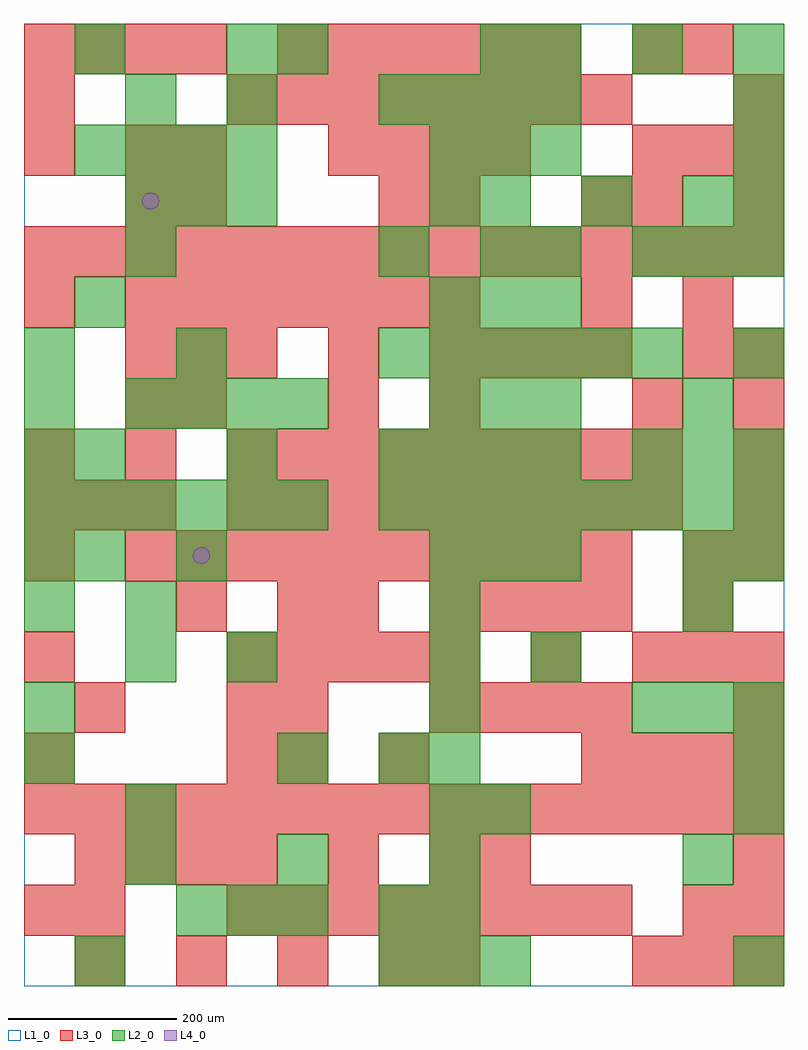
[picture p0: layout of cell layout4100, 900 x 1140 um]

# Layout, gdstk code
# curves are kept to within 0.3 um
import gdstk
lib = gdstk.Library(unit=1e-6, precision=1e-09)
def R(c, l, rs):  # rectangles x0, y0, x1, y1
    for r in rs: c.add(gdstk.rectangle(r[:2], r[2:], *l))
def A(c, l, x, y, w, h, nx, ny, dx, dy):  # array of equal rectangles
    R(c, l, [(x+i*dx, y+j*dy, x+i*dx+w, y+j*dy+h) for i in range(nx) for j in range(ny)])
def P(c, l, *ps):  # polygons
    for p in ps: c.add(gdstk.Polygon(p, *l))
L1_0 = (1, 0)
L2_0 = (2, 0)
L3_0 = (3, 0)
L4_0 = (4, 0)

layout4100 = lib.new_cell('layout4100')
R(layout4100, L1_0, [(0,0,900,1140)])
A(layout4100, L2_0, 420, 0, 60, 60, 3, 1, 60, 0)
A(layout4100, L2_0, 180, 60, 60, 60, 3, 1, 60, 0)
A(layout4100, L2_0, 120, 120, 60, 60, 3, 1, 180, 0)
A(layout4100, L2_0, 480, 180, 60, 60, 1, 5, 0, 60)
A(layout4100, L2_0, 840, 240, 60, 60, 1, 3, 0, 240)
A(layout4100, L2_0, 720, 300, 60, 60, 3, 2, 60, 300)
A(layout4100, L2_0, 60, 480, 60, 60, 1, 3, 0, 300)
A(layout4100, L2_0, 480, 480, 60, 60, 3, 2, 60, 120)
A(layout4100, L2_0, 0, 540, 60, 60, 6, 1, 60, 0)
A(layout4100, L2_0, 420, 540, 60, 60, 8, 1, 60, 0)
A(layout4100, L2_0, 0, 600, 60, 60, 1, 3, 0, 60)
A(layout4100, L2_0, 60, 600, 60, 60, 3, 1, 180, 0)
A(layout4100, L2_0, 120, 660, 60, 60, 4, 1, 60, 0)
A(layout4100, L2_0, 480, 660, 60, 60, 3, 2, 60, 120)
A(layout4100, L2_0, 420, 720, 60, 60, 6, 1, 60, 0)
A(layout4100, L2_0, 720, 840, 60, 60, 3, 1, 60, 0)
A(layout4100, L2_0, 120, 900, 60, 60, 3, 1, 60, 0)
A(layout4100, L2_0, 540, 900, 60, 60, 3, 1, 120, 0)
A(layout4100, L2_0, 840, 900, 60, 60, 1, 3, 0, 60)
A(layout4100, L2_0, 60, 960, 60, 60, 4, 1, 60, 0)
A(layout4100, L2_0, 480, 960, 60, 60, 3, 1, 60, 0)
A(layout4100, L2_0, 420, 1020, 60, 60, 4, 1, 60, 0)
A(layout4100, L2_0, 600, 1080, 60, 60, 3, 1, 120, 0)
R(layout4100, L2_0, [(60,0,120,60), (840,0,900,60), (420,60,480,120), (480,60,540,120), (780,120,840,180), (120,180,180,240), (540,180,600,240), (840,180,900,240), (0,240,60,300), (300,240,360,300), (420,240,480,300), (0,300,60,360), (120,360,180,420), (240,360,300,420), (600,360,660,420), (0,420,60,480), (120,420,180,480), (780,420,840,480), (0,480,60,540), (180,480,240,540), (780,480,840,540), (780,660,840,720), (180,720,240,780), (120,840,180,900), (420,840,480,900), (540,840,600,900), (600,840,660,900), (480,900,540,960), (120,1020,180,1080), (240,1020,300,1080), (240,1080,300,1140), (300,1080,360,1140), (540,1080,600,1140)])
A(layout4100, L3_0, 60, 0, 60, 60, 4, 1, 120, 0)
A(layout4100, L3_0, 720, 0, 60, 60, 3, 2, 60, 360)
A(layout4100, L3_0, 240, 60, 60, 60, 8, 2, 60, 960)
A(layout4100, L3_0, 60, 120, 60, 60, 4, 1, 60, 0)
A(layout4100, L3_0, 840, 120, 60, 60, 1, 3, 0, 180)
A(layout4100, L3_0, 0, 180, 60, 60, 15, 2, 60, 660)
A(layout4100, L3_0, 0, 240, 60, 60, 1, 3, 0, 120)
A(layout4100, L3_0, 660, 240, 60, 60, 4, 1, 60, 0)
A(layout4100, L3_0, 480, 300, 60, 60, 4, 2, 60, 120)
A(layout4100, L3_0, 240, 360, 60, 60, 5, 1, 60, 0)
A(layout4100, L3_0, 180, 420, 60, 60, 1, 3, 0, 240)
A(layout4100, L3_0, 120, 480, 60, 60, 10, 1, 60, 0)
A(layout4100, L3_0, 0, 540, 60, 60, 3, 1, 60, 0)
A(layout4100, L3_0, 240, 540, 60, 60, 9, 1, 60, 0)
A(layout4100, L3_0, 840, 540, 60, 60, 1, 4, 0, 60)
A(layout4100, L3_0, 0, 600, 60, 60, 3, 1, 120, 0)
A(layout4100, L3_0, 300, 600, 60, 60, 8, 1, 60, 0)
A(layout4100, L3_0, 120, 720, 60, 60, 3, 1, 60, 0)
A(layout4100, L3_0, 480, 720, 60, 60, 4, 1, 60, 0)
A(layout4100, L3_0, 120, 780, 60, 60, 7, 1, 60, 0)
A(layout4100, L3_0, 360, 960, 60, 60, 4, 1, 60, 0)
A(layout4100, L3_0, 720, 960, 60, 60, 3, 1, 60, 0)
A(layout4100, L3_0, 0, 1080, 60, 60, 4, 1, 60, 0)
A(layout4100, L3_0, 300, 1080, 60, 60, 6, 1, 60, 0)
R(layout4100, L3_0, [(480,0,540,60), (0,60,60,120), (60,60,120,120), (780,60,840,120), (840,60,900,120), (360,120,420,180), (480,120,540,180), (540,120,600,180), (240,240,300,300), (300,240,360,300), (420,240,480,300), (60,300,120,360), (240,300,300,360), (300,300,360,360), (600,360,660,420), (300,420,360,480), (360,420,420,480), (780,420,840,480), (780,480,840,540), (120,660,180,720), (360,660,420,720), (480,660,540,720), (720,660,780,720), (360,720,420,780), (780,720,840,780), (0,780,60,840), (660,780,720,840), (780,780,840,840), (120,900,180,960), (420,900,480,960), (480,900,540,960), (660,900,720,960), (720,900,780,960), (840,900,900,960), (0,960,60,1020), (120,960,180,1020), (180,960,240,1020), (0,1020,60,1080), (840,1020,900,1080), (720,1080,780,1140), (780,1080,840,1140)])
P(layout4100, L4_0, [(160,930),(159.239,933.827),(157.071,937.071),(153.827,939.239),(150,940),(146.173,939.239),(142.929,937.071),(140.761,933.827),(140,930),(140.761,926.173),(142.929,922.929),(146.173,920.761),(150,920),(153.827,920.761),(157.071,922.929),(159.239,926.173)],
  [(220,510),(219.239,513.827),(217.071,517.071),(213.827,519.239),(210,520),(206.173,519.239),(202.929,517.071),(200.761,513.827),(200,510),(200.761,506.173),(202.929,502.929),(206.173,500.761),(210,500),(213.827,500.761),(217.071,502.929),(219.239,506.173)])

lib.write_gds('layout4100.gds')
